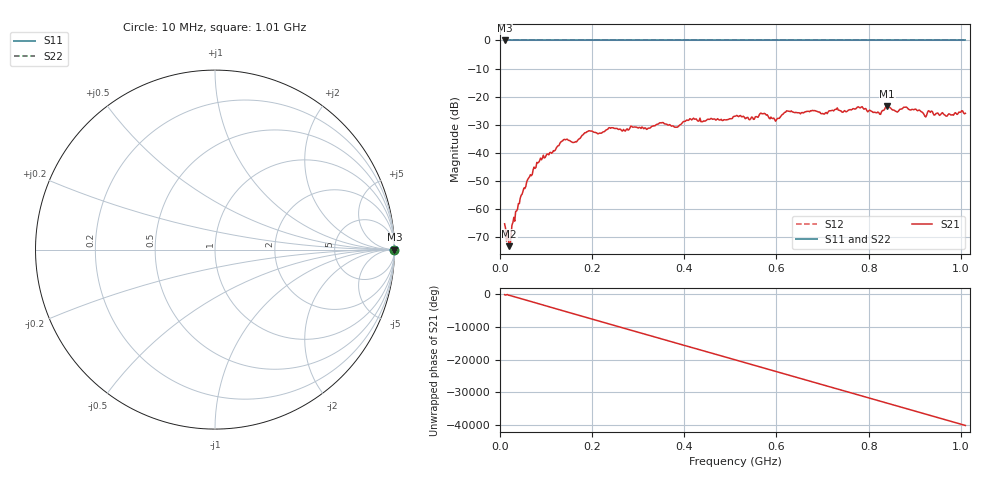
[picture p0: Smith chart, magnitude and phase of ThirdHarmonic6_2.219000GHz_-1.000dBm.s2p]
! 8/17/2025 2:25:58 AM
! C:\ANRITSUVNA\TEMP\TEMP.S2P
! CHANNEL.1
! TR.MEASUREMENT
! RAW.DATA
! RF.CORRECTION.OFF
! AVERAGING.OFF
! IF.BANDWIDTH: 5KHZ
! SWEEPTYPE:  FREQ.SWEEP(Linear)
! Reference Plane Port Info
! PORT:  PORT1  PORT2
! DISTANCE:  0  m  0  m
! TIME:  0  s  0  s
! PHASE.OFFSET:  0  deg.  0  deg.
! LOSS:  0  dB  0  dB
! REF.LOSS:  0  dB  0  dB
! REF.FREQ:  0  Hz  0  Hz
! Power Info
! POWER:  -20  dBm  -20  dBm
! EFF.POWER:  -20  dBm  -20  dBm
! SOURCE.ATTEN:  0  dB  0  dB
! TEST.ATTEN:  0  dB  0  dB
# GHZ S RI R 50.0
! FREQ.GHZ  S11RE  S11IM  S21RE  S21IM  S12RE  S12IM  S22RE  S22IM
!; PortSelection: Port_12
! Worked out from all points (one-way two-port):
!   501 points, 10 MHz to 1.01 GHz, reference 50 ohm
!   highest |S21| = -23.46 dB at 840 MHz (marker M1); lowest = -73.2 dB at 20 MHz (marker M2)
!   lowest |S11| = 0.0 dB at 10 MHz (marker M3)
!   |S11| at or under -10 dB: nowhere
!   |S22| runs from 0.0 to 0.0 dB; largest |S21 - S12| = 1.1
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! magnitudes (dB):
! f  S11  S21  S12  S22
! 10 MHz  0.0  -65.2  0.0  0.0
! 20 MHz  0.0  -73.2  0.0  0.0
! 48 MHz  0.0  -54.7  0.0  0.0
! 84 MHz  0.0  -43.3  0.0  0.0
! 136 MHz  0.0  -35.7  0.0  0.0
! 162 MHz  0.0  -36.2  0.0  0.0
! 178 MHz  0.0  -33.8  0.0  0.0
! 344 MHz  0.0  -29.7  0.0  0.0
! 382 MHz  0.0  -30.8  0.0  0.0
! 416 MHz  0.0  -28.3  0.0  0.0
! 510 MHz  0.0  -27.0  0.0  0.0
! 546 MHz  0.0  -27.3  0.0  0.0
! 570 MHz  0.0  -26.1  0.0  0.0
! 600 MHz  0.0  -28.2  0.0  0.0
! 622 MHz  0.0  -25.1  0.0  0.0
! 678 MHz  0.0  -24.9  0.0  0.0
! 782 MHz  0.0  -24.0  0.0  0.0
! 822 MHz  0.0  -25.7  0.0  0.0
! 840 MHz  0.0  -23.5  0.0  0.0
! 844 MHz  0.0  -23.7  0.0  0.0
! 922 MHz  0.0  -27.0  0.0  0.0
! 1.01 GHz  0.0  -25.9  0.0  0.0
